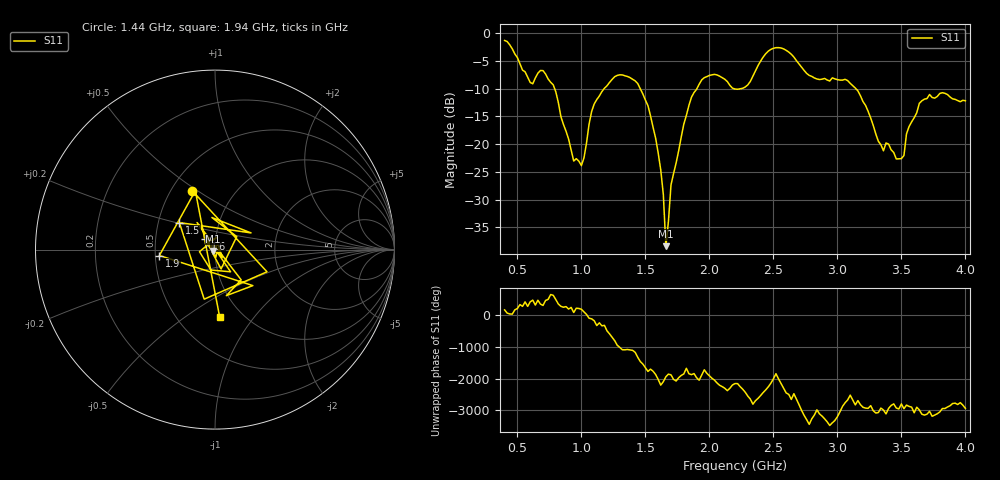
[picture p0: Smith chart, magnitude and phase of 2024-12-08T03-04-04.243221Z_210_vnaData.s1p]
!Created with skrf (http://scikit-rf.org).
# Hz S RI R 50.0
!freq ReS11 ImS11
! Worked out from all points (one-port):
!   181 points, 400 MHz to 4 GHz, reference 50 ohm
!   lowest |S11| = -38.4 dB at 1.66 GHz (marker M1), VSWR 1.02, Z = 49 - j0.723 ohm
!   |S11| at or under -10 dB: 790.6 MHz to 1.178 GHz (387.5 MHz wide, 39.4 % of centre); 1.459 GHz to 1.903 GHz (443.5 MHz wide, 26.4 % of centre); 3.143 GHz to end of sweep (the widest 3 of 4)
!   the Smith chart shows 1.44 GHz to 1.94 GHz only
!   S11 on the Smith chart (normalised r, x): 1.44 GHz: 0.64, +0.48; 1.5 GHz: 0.64, +0.21; 1.6 GHz: 0.89, +0.11; 1.9 GHz: 0.53, -0.04; 1.94 GHz: 0.79, -0.69
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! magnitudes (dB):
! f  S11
! 400 MHz  -1.3
! 600 MHz  -8.9
! 700 MHz  -6.8
! 780 MHz  -9.3
! 860 MHz  -16.5
! 940 MHz  -23.0
! 1 GHz  -23.9
! 1.1 GHz  -12.8
! 1.3 GHz  -7.5
! 1.44 GHz  -9.1
! 1.5 GHz  -12.1
! 1.6 GHz  -21.6
! 1.64 GHz  -29.0
! 1.66 GHz  -38.4
! 1.7 GHz  -27.3
! 1.76 GHz  -21.2
! 1.9 GHz  -10.1
! 1.94 GHz  -8.4
! 2.2 GHz  -10.1
! 2.48 GHz  -3.0
! 2.66 GHz  -4.3
! 2.82 GHz  -8.1
! 3.1 GHz  -9.1
! 3.36 GHz  -21.2
! 3.5 GHz  -22.6
! 3.56 GHz  -16.8
! 3.72 GHz  -11.1
! 4 GHz  -12.2
